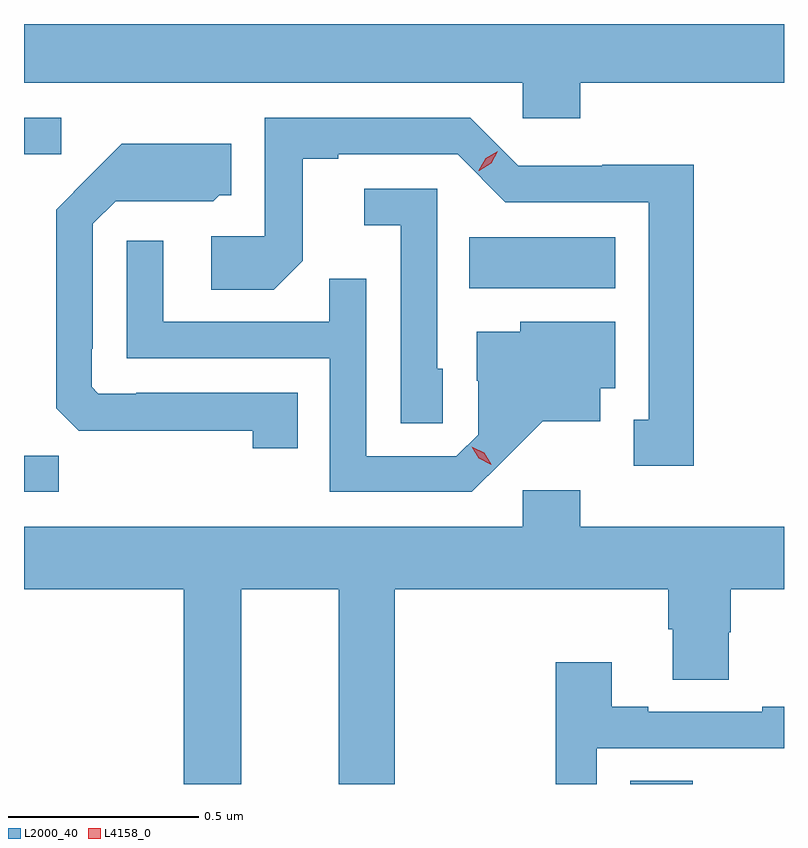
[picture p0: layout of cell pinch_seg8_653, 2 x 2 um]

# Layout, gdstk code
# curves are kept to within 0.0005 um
import gdstk
lib = gdstk.Library(unit=1e-6, precision=1e-09)
def R(c, l, rs):  # rectangles x0, y0, x1, y1
    for r in rs: c.add(gdstk.rectangle(r[:2], r[2:], *l))
def P(c, l, *ps):  # polygons
    for p in ps: c.add(gdstk.Polygon(p, *l))
L2000_40 = (2000, 40)
L4158_0 = (4158, 0)

pinch_seg8_653 = lib.new_cell('pinch_seg8_653')
R(pinch_seg8_653, L2000_40, [(192.182,1097.339,192.346,1097.348), (190.586,1098.108,190.677,1098.203), (191.758,1098.644,192.142,1098.778), (190.586,1098.996,190.684,1099.092)])
P(pinch_seg8_653, L2000_40, [(190.586,1099.184),(191.898,1099.184),(191.898,1099.091),(192.05,1099.091),(192.05,1099.184),(192.586,1099.184),(192.586,1099.339),(190.586,1099.339)],
  [(192.349,1098.968),(192.108,1098.968),(192.108,1098.966),(191.886,1098.966),(191.76,1099.092),(191.22,1099.092),(191.22,1098.78),(191.079,1098.78),(191.079,1098.64),(191.243,1098.64),(191.319,1098.716),(191.319,1098.984),(191.413,1098.984),(191.413,1098.996),(191.727,1098.996),(191.853,1098.87),(192.23,1098.87),(192.23,1098.297),(192.191,1098.297),(192.191,1098.177),(192.349,1098.177)],
  [(191.306,1098.369),(190.882,1098.369),(190.882,1098.366),(190.782,1098.366),(190.764,1098.384),(190.764,1098.484),(190.767,1098.484),(190.767,1098.813),(190.827,1098.873),(190.95,1098.873),(190.95,1098.872),(191.084,1098.872),(191.1,1098.888),(191.131,1098.888),(191.131,1099.024),(190.843,1099.024),(190.671,1098.85),(190.671,1098.328),(190.73,1098.269),(190.831,1098.269),(190.831,1098.268),(191.188,1098.268),(191.188,1098.222),(191.306,1098.222)],
  [(191.688,1098.432),(191.673,1098.432),(191.673,1098.906),(191.481,1098.906),(191.481,1098.809),(191.577,1098.809),(191.577,1098.289),(191.688,1098.289)],
  [(191.848,1098.191),(191.951,1098.293),(192.103,1098.293),(192.103,1098.38),(192.142,1098.38),(192.142,1098.556),(191.892,1098.556),(191.892,1098.529),(191.777,1098.529),(191.777,1098.4),(191.781,1098.4),(191.781,1098.258),(191.724,1098.201),(191.487,1098.201),(191.487,1098.668),(191.389,1098.668),(191.389,1098.555),(190.953,1098.555),(190.953,1098.769),(190.857,1098.769),(190.857,1098.459),(191.391,1098.459),(191.391,1098.108),(191.764,1098.108)],
  [(191.158,1097.852),(191.414,1097.852),(191.414,1097.339),(191.562,1097.339),(191.562,1097.852),(192.281,1097.852),(192.281,1097.746),(192.293,1097.746),(192.293,1097.614),(192.441,1097.614),(192.441,1097.739),(192.446,1097.739),(192.446,1097.852),(192.586,1097.852),(192.586,1098.016),(192.05,1098.016),(192.05,1098.112),(191.898,1098.112),(191.898,1098.016),(190.586,1098.016),(190.586,1097.852),(191.006,1097.852),(191.006,1097.339),(191.158,1097.339)],
  [(192.093,1097.433),(192.586,1097.433),(192.586,1097.542),(192.529,1097.542),(192.529,1097.529),(192.229,1097.529),(192.229,1097.542),(192.133,1097.542),(192.133,1097.659),(191.985,1097.659),(191.985,1097.339),(192.093,1097.339)])
P(pinch_seg8_653, L4158_0, [(191.783,1098.953),(191.783,1098.954),(191.801,1098.986),(191.833,1099.004),(191.833,1099.004),(191.833,1099.004),(191.816,1098.972),(191.784,1098.953)],
  [(191.816,1098.179),(191.783,1098.196),(191.764,1098.227),(191.764,1098.227),(191.764,1098.227),(191.797,1098.211),(191.816,1098.18),(191.816,1098.179)])

lib.write_gds('pinch_seg8_653.gds')
